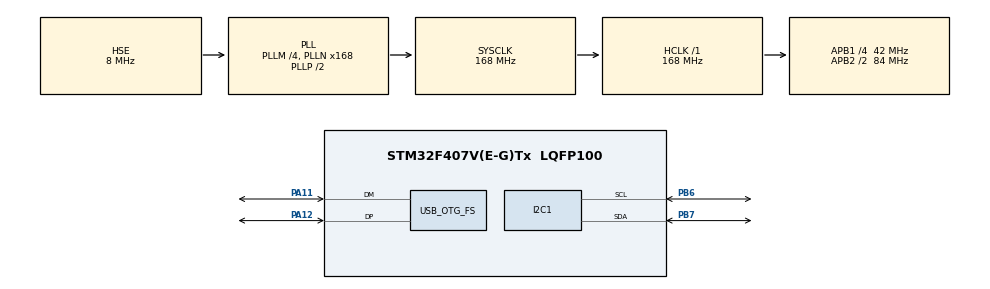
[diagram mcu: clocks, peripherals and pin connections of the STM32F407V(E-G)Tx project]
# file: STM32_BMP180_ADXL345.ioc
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I2C1.I2C_Mode=I2C_Fast
Mcu.Family=STM32F4
Mcu.Name=STM32F407V(E-G)Tx
Mcu.Package=LQFP100
NVIC.OTG_FS_IRQn=true\:0\:0\:false\:false\:true\:false\:true\:true
NVIC.PriorityGroup=NVIC_PRIORITYGROUP_0
PA11.Mode=Device_Only
PA11.Signal=USB_OTG_FS_DM
PA12.Mode=Device_Only
PA12.Signal=USB_OTG_FS_DP
PA13.Mode=Serial_Wire
PA13.Signal=SYS_JTMS-SWDIO
PA14.Mode=Serial_Wire
PA14.Signal=SYS_JTCK-SWCLK
PB6.Mode=I2C
PB6.Signal=I2C1_SCL
PB7.Mode=I2C
PB7.Signal=I2C1_SDA
PH0-OSC_IN.Mode=HSE-External-Oscillator
PH0-OSC_IN.Signal=RCC_OSC_IN
PH1-OSC_OUT.Mode=HSE-External-Oscillator
PH1-OSC_OUT.Signal=RCC_OSC_OUT
ProjectManager.HeapSize=0x200
ProjectManager.StackSize=0x400
ProjectManager.TargetToolchain=STM32CubeIDE
RCC.48MHZClocksFreq_Value=48000000
RCC.AHBFreq_Value=168000000
RCC.APB1CLKDivider=RCC_HCLK_DIV4
RCC.APB1Freq_Value=42000000
RCC.APB1TimFreq_Value=84000000
RCC.APB2CLKDivider=RCC_HCLK_DIV2
RCC.APB2Freq_Value=84000000
RCC.APB2TimFreq_Value=168000000
RCC.CortexFreq_Value=168000000
RCC.HCLKFreq_Value=168000000
RCC.HSE_VALUE=8000000
RCC.HSI_VALUE=16000000
RCC.LSE_VALUE=32768
RCC.PLLM=4
RCC.PLLN=168
RCC.PLLQ=7
RCC.SYSCLKFreq_VALUE=168000000
RCC.SYSCLKSource=RCC_SYSCLKSOURCE_PLLCLK
RCC.VCOOutputFreq_Value=336000000
USB_DEVICE.CLASS_NAME_FS=CDC
USB_DEVICE.VirtualMode-CDC_FS=Cdc
USB_DEVICE.VirtualModeFS=Cdc_FS
USB_OTG_FS.VirtualMode=Device_Only
VP_USB_DEVICE_VS_USB_DEVICE_CDC_FS.Mode=CDC_FS
board=STM32F407G-DISC1

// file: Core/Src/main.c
/* USER CODE BEGIN Header */
/**
  ******************************************************************************
  * @file           : main.c
  * @brief          : Main program body
  ******************************************************************************
  * @attention
  *
  * Copyright (c) 2023 STMicroelectronics.
  * All rights reserved.
  *
  * This software is licensed under terms that can be found in the LICENSE file
  * in the root directory of this software component.
  * If no LICENSE file comes with this software, it is provided AS-IS.
  *
  ******************************************************************************
  */
/* USER CODE END Header */
#include "main.h"
#include "usb_device.h"

/* USER CODE BEGIN Includes */
#include "ADXL345.h"
#include "BMP180.h"
#include "usbd_cdc_if.h"
extern int16_t x;
extern int16_t y;
extern int16_t z;
extern float xG,yG,zG;
/* USER CODE END Includes */

I2C_HandleTypeDef hi2c1;

/* USER CODE BEGIN PV */
float mesafe=0;
float temp=0;

/* USER CODE END PV */

void SystemClock_Config(void);
static void MX_GPIO_Init(void);
static void MX_I2C1_Init(void);
/* USER CODE BEGIN PFP */
void ADXL345_Func(void);
void BMP180_Func(void);

/* USER CODE END PFP */

int main(void)
{

  /* MCU Configuration--------------------------------------------------------*/

  /* Reset of all peripherals, Initializes the Flash interface and the Systick. */
  HAL_Init();

  /* Configure the system clock */
  SystemClock_Config();

  /* Initialize all configured peripherals */
  MX_GPIO_Init();
  MX_I2C1_Init();
  MX_USB_DEVICE_Init();
  /* USER CODE BEGIN 2 */
  ADXL345_Init();
  BMP180_Start();

  /* USER CODE END 2 */

  /* Infinite loop */
  while (1)
  {

    /* USER CODE BEGIN 3 */
	  ADXL345_Func();
	  BMP180_Func();
  }
  /* USER CODE END 3 */
}

void SystemClock_Config(void)
{
  RCC_OscInitTypeDef RCC_OscInitStruct = {0};
  RCC_ClkInitTypeDef RCC_ClkInitStruct = {0};

  /** Configure the main internal regulator output voltage
  */
  __HAL_RCC_PWR_CLK_ENABLE();
  __HAL_PWR_VOLTAGESCALING_CONFIG(PWR_REGULATOR_VOLTAGE_SCALE1);

  /** Initializes the RCC Oscillators according to the specified parameters
  * in the RCC_OscInitTypeDef structure.
  */
  RCC_OscInitStruct.OscillatorType = RCC_OSCILLATORTYPE_HSE;
  RCC_OscInitStruct.HSEState = RCC_HSE_ON;
  RCC_OscInitStruct.PLL.PLLState = RCC_PLL_ON;
  RCC_OscInitStruct.PLL.PLLSource = RCC_PLLSOURCE_HSE;
  RCC_OscInitStruct.PLL.PLLM = 4;
  RCC_OscInitStruct.PLL.PLLN = 168;
  RCC_OscInitStruct.PLL.PLLP = RCC_PLLP_DIV2;
  RCC_OscInitStruct.PLL.PLLQ = 7;
  if (HAL_RCC_OscConfig(&RCC_OscInitStruct) != HAL_OK)
  {
    Error_Handler();
  }

  /** Initializes the CPU, AHB and APB buses clocks
  */
  RCC_ClkInitStruct.ClockType = RCC_CLOCKTYPE_HCLK|RCC_CLOCKTYPE_SYSCLK
                              |RCC_CLOCKTYPE_PCLK1|RCC_CLOCKTYPE_PCLK2;
  RCC_ClkInitStruct.SYSCLKSource = RCC_SYSCLKSOURCE_PLLCLK;
  RCC_ClkInitStruct.AHBCLKDivider = RCC_SYSCLK_DIV1;
  RCC_ClkInitStruct.APB1CLKDivider = RCC_HCLK_DIV4;
  RCC_ClkInitStruct.APB2CLKDivider = RCC_HCLK_DIV2;

  if (HAL_RCC_ClockConfig(&RCC_ClkInitStruct, FLASH_LATENCY_5) != HAL_OK)
  {
    Error_Handler();
  }
}

static void MX_I2C1_Init(void)
{

  hi2c1.Instance = I2C1;
  hi2c1.Init.ClockSpeed = 400000;
  hi2c1.Init.DutyCycle = I2C_DUTYCYCLE_2;
  hi2c1.Init.OwnAddress1 = 0;
  hi2c1.Init.AddressingMode = I2C_ADDRESSINGMODE_7BIT;
  hi2c1.Init.DualAddressMode = I2C_DUALADDRESS_DISABLE;
  hi2c1.Init.OwnAddress2 = 0;
  hi2c1.Init.GeneralCallMode = I2C_GENERALCALL_DISABLE;
  hi2c1.Init.NoStretchMode = I2C_NOSTRETCH_DISABLE;
  if (HAL_I2C_Init(&hi2c1) != HAL_OK)
  {
    Error_Handler();
  }

}

static void MX_GPIO_Init(void)
{

  /* GPIO Ports Clock Enable */
  __HAL_RCC_GPIOH_CLK_ENABLE();
  __HAL_RCC_GPIOA_CLK_ENABLE();
  __HAL_RCC_GPIOB_CLK_ENABLE();

}

/* USER CODE BEGIN 4 */
void ADXL345_Func()
{
	char veri[100];
	char veri2[150];
	ADXL345_Start();
	sniprintf(veri,sizeof(veri),"X ekseni: %d , Y ekseni: %d , Z ekseni : %d\n",x,y,z);
	CDC_Transmit_FS(veri, strlen(veri));
	sniprintf(veri2,sizeof(veri),"X g kuvveti : %.2f , Y  g kuvveti: %.2f , Z  g kuvveti : %.2f\n\n",xG,yG,zG);
	CDC_Transmit_FS(veri2, strlen(veri2));
	HAL_Delay(2000);

}
void BMP180_Func()
{
	char veri[100];
	temp = BMP180_GetTemp();
	mesafe = BMP180_GetAlt (0);
	sniprintf(veri,sizeof(veri),"Sicaklik: %.2f C ve Yukseklik: %.2f metredir.\n",temp,mesafe);
	CDC_Transmit_FS(veri, strlen(veri));
	HAL_Delay(2000);

}

/* USER CODE END 4 */

void Error_Handler(void)
{
  __disable_irq();
  while (1)
  {
  }
}
